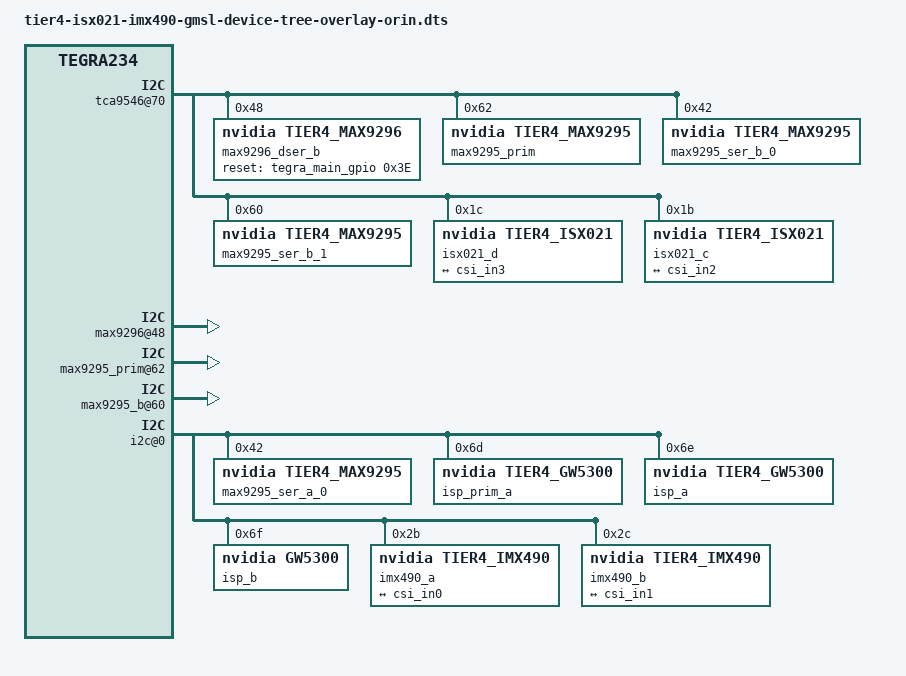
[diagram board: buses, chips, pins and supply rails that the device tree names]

/dts-v1/;
/plugin/;


//CAM0_RST_L 7 * 8 + 3, 0x3B
//CAM0_PWDN 7 * 8 + 6, 0x3E
//CAMERA_I2C_MUX_BUS 0x1E + x
//GPIO_ACTIVE_HIGH 0
//CAM1_RST_L 20 * 8 + 1, 0xA1

/ {
  overlay-name = "TIERIV ISX021 IMX490 GMSL2 Camera Device Tree Overlay";
  jetson-header-name = "Jetson AGX CSI Connector";
  compatible = "nvidia,p3737-0000+p3701-0000", "nvidia,tegra234", "nvidia,tegra23x";

fragment@0{
    target-path = "/tegra-capture-vi";
    __overlay__ {
      num-channels = <0x04>;
    };
  };
  //diff view    
fragment@1{
    target-path = "/tegra-capture-vi/ports/port@0";
    __overlay__ {
      status = "okay";
    };
  };

fragment@2{
    target-path = "/tegra-capture-vi/ports/port@0/endpoint";
    __overlay__ {
      status = "okay";
      port-index = <0>;
      vc-id = <0>;
      bus-width = <2>;
    };
  };

fragment@3{
    target-path = "/tegra-capture-vi/ports/port@1";
    __overlay__ {
      status = "okay";
    };
  };

fragment@4{
    target-path = "/tegra-capture-vi/ports/port@1/endpoint";
    __overlay__ {
      status = "okay";
      port-index = <0>;
      vc-id = <1>;
      bus-width = <2>;
    };
  };
  
fragment@5{
    target-path = "/tegra-capture-vi/ports/port@2";
    __overlay__ {
      status = "okay";
    
  };
  };
  
fragment@6{
    target-path = "/tegra-capture-vi/ports/port@2/endpoint";
    __overlay__ {
      status = "okay";
      vc-id = <0>;
      port-index = <2>;
      bus-width = <2>;
    };
  };
  
fragment@7{
    target-path = "/tegra-capture-vi/ports/port@3";
    __overlay__ {
      status = "okay";
    };
  };
  
fragment@8{
    target-path = "/tegra-capture-vi/ports/port@3/endpoint";
    __overlay__ {
      status = "okay";
      vc-id = <1>;
      port-index = <2>;
      bus-width = <2>;
    };
  };


/**********************/


fragment@9{
    target-path = "/host1x@13e00000/nvcsi@15a00000/channel@0";
    __overlay__ {
      status = "okay";
    };
  };
fragment@10{
    target-path = "/host1x@13e00000/nvcsi@15a00000/channel@0/ports/port@0";
    __overlay__ {
      status = "okay";
    };
  };
fragment@11{
    // target = csi_in0
    target-path = "/host1x@13e00000/nvcsi@15a00000/channel@0/ports/port@0/endpoint@0";
    __overlay__ {
      status = "okay";
      bus-width = <0x02>;
      remote-endpoint = <&imx490_out0>;
    };
  };

fragment@12{
    target-path = "/host1x@13e00000/nvcsi@15a00000/channel@0/ports/port@1";
    __overlay__ {
      status = "okay";
    };
  };

fragment@13{
    // target = csi_out0
    target-path = "/host1x@13e00000/nvcsi@15a00000/channel@0/ports/port@1/endpoint@1";
    __overlay__ {
      status = "okay";
      remote-endpoint = <&vi_in0>;
    };
  };

  // channel@1
fragment@14{
    target-path = "/host1x@13e00000/nvcsi@15a00000/channel@1";
    __overlay__ {
      status = "okay";
    };
  };
fragment@15{
    target-path = "/host1x@13e00000/nvcsi@15a00000/channel@1/ports/port@0";
    __overlay__ {
      status = "okay";
    };
  };
fragment@16{
    // target = csi_in1
    target-path = "/host1x@13e00000/nvcsi@15a00000/channel@1/ports/port@0/endpoint@2";
    __overlay__ {
      status = "okay";
      port-index = <0x00>;
      bus-width = <0x02>;
      remote-endpoint = <&imx490_out1>;
    };
  };

fragment@17{
    // target = csi_out1
    target-path = "/host1x@13e00000/nvcsi@15a00000/channel@1/ports/port@1/endpoint@3";
    __overlay__ {
      status = "okay";
      remote-endpoint = <&vi_in1>;
    };
  };

  // channel@2
fragment@18{
    target-path = "/host1x@13e00000/nvcsi@15a00000/channel@2";
    __overlay__ {
      status = "okay";
    };
  };
fragment@19{
    target-path = "/host1x@13e00000/nvcsi@15a00000/channel@2/ports/port@0";
    __overlay__ {
      status = "okay";
    };
  };
fragment@20{
    // target = csi_in0
    target-path = "/host1x@13e00000/nvcsi@15a00000/channel@2/ports/port@0/endpoint@4";
    __overlay__ {
      status = "okay";
      port-index = <2>;
      bus-width = <2>;
      remote-endpoint = <&isx021_out2>;
    };
  };

fragment@21{
    target-path = "/host1x@13e00000/nvcsi@15a00000/channel@2/ports/port@1";
    __overlay__ {
      status = "okay";
    };
  };

fragment@22{
    // target = csi_out0
    target-path = "/host1x@13e00000/nvcsi@15a00000/channel@2/ports/port@1/endpoint@5";
    __overlay__ {
      status = "okay";
      remote-endpoint = <&vi_in2>;
    };
  };

  // channel@3
fragment@23{
    target-path = "/host1x@13e00000/nvcsi@15a00000/channel@3";
    __overlay__ {
      status = "okay";
    };
  };
fragment@24{
    target-path = "/host1x@13e00000/nvcsi@15a00000/channel@3/ports/port@0";
    __overlay__ {
      status = "okay";
    };
  };
fragment@25{
    // target = csi_in0
    target-path = "/host1x@13e00000/nvcsi@15a00000/channel@3/ports/port@0/endpoint@6";
    __overlay__ {
      status = "okay";
      port-index = <2>;
      bus-width = <2>;
      remote-endpoint = <&isx021_out3>;
    };
  };

fragment@26{
    target-path = "/host1x@13e00000/nvcsi@15a00000/channel@3/ports/port@1";
    __overlay__ {
      status = "okay";
    };
  };

fragment@27{
    // target = csi_out0
    target-path = "/host1x@13e00000/nvcsi@15a00000/channel@3/ports/port@1/endpoint@7";
    __overlay__ {
      status = "okay";
      remote-endpoint = <&vi_in3>;
    };
  };

  // channel@6-7
fragment@28{
    target-path = "/host1x@13e00000/nvcsi@15a00000";
    __overlay__ {
      num-channels = <4>;
    };
  };

fragment@29{
    //tcp
    target-path = "/tegra-camera-platform";
    __overlay__ {
      num_csi_lanes = <0x04>;
      max_lane_speed = <4000000>;
    };
  };

fragment@30{
    target-path = "/tegra-camera-platform/modules/module0";
    __overlay__ {
      badge = "isx021_rear";
      position = "rear";
      orientation = "1";
      status = "okay";
    };
  };

fragment@31{
    target-path = "/tegra-camera-platform/modules/module0/drivernode0";
    __overlay__ {
      status = "okay";
      pcl_id = "v4l2_sensor";
      devname = "imx490 30-002b";
      proc-device-tree = "/proc/device-tree/i2c@3180000/tca9546@70/i2c@0/imx490_a@2b";
    };
  };

fragment@32{
    target-path = "/tegra-camera-platform/modules/module1";
    __overlay__ {
      badge = "isx021_front";
      position = "front";
      orientation = "1";
      status = "okay";
    };
  };

fragment@33{
    target-path = "/tegra-camera-platform/modules/module1/drivernode0";
    __overlay__ {
      status = "okay";
      pcl_id = "v4l2_sensor";
      devname = "imx490 30-002c";
      proc-device-tree = "/proc/device-tree/i2c@3180000/tca9546@70/i2c@0/imx490_b@2c";
    };
  };

fragment@34{
    target-path = "/tegra-camera-platform/modules/module2";
    __overlay__ {
      badge = "isx021_topright";
      position = "topright";
      orientation = "1";
      status = "okay";
    };
  };

fragment@35{
    target-path = "/tegra-camera-platform/modules/module2/drivernode0";
    __overlay__ {
      status = "okay";
      pcl_id = "v4l2_sensor";
      devname = "isx021 31-001b";
      proc-device-tree = "/proc/device-tree/i2c@3180000/tca9546@70/i2c@1/isx021_c@1b";
    };
  };

fragment@36{
    target-path = "/tegra-camera-platform/modules/module3";
    __overlay__ {
      badge = "isx021_bottomright";
      position = "bottomright";
      orientation = "1";
      status = "okay";
    };
  };

fragment@37{
    target-path = "/tegra-camera-platform/modules/module3/drivernode0";
    __overlay__ {
      status = "okay";
      pcl_id = "v4l2_sensor";
      devname = "isx021 31-002c";
      proc-device-tree = "/proc/device-tree/i2c@3180000/tca9546@70/i2c@1/isx021_d@2c";
    };
  };

fragment@38{
    target-path = "/tegra-camera-platform/modules/module4";
    __overlay__ {
      badge = "isx021_topleft";
      position = "topleft";
      orientation = "1";
      status = "okay";
    };
  };

fragment@39{
    target-path = "/tegra-camera-platform/modules/module4/drivernode0";
    __overlay__ {
      status = "okay";
      pcl_id = "v4l2_sensor";
      devname = "isx021 32-001b";
      proc-device-tree = "/proc/device-tree/i2c@3180000/tca9546@70/i2c@2/isx021_e@1b";
    };
  };

fragment@40{
    target-path = "/tegra-camera-platform/modules/module5";
    __overlay__ {
      badge = "isx021_centerright";
      position = "centerright";
      orientation = "1";
      status = "okay";
    };
  };

fragment@41{
    target-path = "/tegra-camera-platform/modules/module5/drivernode0";
    __overlay__ {
      status = "okay";
      pcl_id = "v4l2_sensor";
      devname = "isx021 32-001c";
      proc-device-tree = "/proc/device-tree/i2c@3180000/tca9546@70/i2c@2/isx021_f@1c";
    };
  };

  // cam
fragment@42{
    //cami2c/i2c@0
    target-path = "/i2c@3180000/tca9546@70";
    __overlay__ {
      status = "okay";
    };
  };

fragment@43{
    //cami2c/i2c@0
    target-path = "/i2c@3180000/tca9546@70/i2c@0/max9296@48";
    __overlay__ {
      status = "okay";
      compatible = "nvidia,tier4_max9296";
    };
  };

fragment@44{
    //cami2c/i2c@0
    target-path = "/i2c@3180000/tca9546@70/i2c@0/max9295_prim@62";
    __overlay__ {
      status = "okay";
      compatible = "nvidia,tier4_max9295";
    };
  };

fragment@45{
    //cami2c/i2c@0
    target-path = "/i2c@3180000/tca9546@70/i2c@0/max9295_b@60";
    __overlay__ {
      status = "okay";
      compatible = "nvidia,tier4_max9295";
      nvidia,gmsl-dser-device = <&dser>;
    };
  };

fragment@46{
    //cami2c/i2c@0
    target-path = "/i2c@3180000/tca9546@70/i2c@0";
    __overlay__ {
      max9295_ser_a_0: max9295_a@42 {
        compatible = "nvidia,tier4_max9295";
        reg = <0x42>;
        nvidia,gmsl-dser-device = <&max9296_dser>;
      };
   
      isp_prim_a: gw5300_prim@6d {
        compatible = "nvidia,tier4_gw5300";
        reg = <0x6d>;
        is-prim-isp;
      };
      isp_a: gw5300_a@6e {
        compatible = "nvidia,tier4_gw5300";
        reg = <0x6e>;
      };
      isp_b: gw5300_b@6f {
        compatible = "nvidia,gw5300";
        reg = <0x6f>;
      };

      imx490_a@2b {
        //cvb
        status = "okay";
        def-addr = <0x1a>;
        mclk = "extperiph1";
        clocks = <&bpmp 36U>, <&bpmp 36U>;
        clock-names = "extperiph1", "pllp_grtba";
        nvidia,isp-device = <&isp_a>;           // for C2 camera
        nvidia,gmsl-ser-device = <&max9295_ser_a_0>;
        nvidia,gmsl-dser-device = <&max9296_dser>;

        // common modul;e
        compatible = "nvidia,tier4_imx490";
        reg = <0x2b>;

        /* Physical dimensions of sensor */
        physical_w = "15.0";
        physical_h = "12.5";
        reg_mux = <0>;
        sensor_model ="imx490";

        fsync-mode = "false";

        distortion-correction = "false";

        auto-exposure = "true";

        /* Defines number of frames to be dropped by driver internally after applying */
        /* sensor crop settings. Some sensors send corrupt frames after applying */
        /* crop co-ordinates */
        post_crop_frame_drop = "0";

        /* Convert Gain to unit of dB (decibel) befor passing to kernel driver */
        use_decibel_gain = "true";

        /* enable CID_SENSOR_MODE_ID for sensor modes selection */
        use_sensor_mode_id = "true";

        mode0 {
          /*mode ISX021_MODE_1920X1280_CROP_30FPS*/
          mclk_khz = "24000";
          num_lanes = "4";
          tegra_sinterface = "serial_a";
          vc_id = "0";
          discontinuous_clk = "no";
          dpcm_enable = "false";
          cil_settletime = "0";
          dynamic_pixel_bit_depth = "16";
          csi_pixel_bit_depth = "16";
          mode_type = "yuv";
          pixel_phase = "uyvy";

          active_w = "2880";
          active_h = "1860";
          readout_orientation = "0";
          line_length = "2250";
          inherent_gain = "1";

          pix_clk_hz = "757"; //not use
          serdes_pix_clk_hz =  "237500000";

          gain_factor = "10";
          min_gain_val = "0"; 						/* dB */
          max_gain_val = "300"; 						/* dB */
          step_gain_val = "3"; 						/* 0.3 */
          default_gain = "0";
          min_hdr_ratio = "1";
          max_hdr_ratio = "1";
          framerate_factor = "1000000";
          min_framerate = "30000000";
          max_framerate = "30000000";
          step_framerate = "1";
          default_framerate = "30000000";
          exposure_factor = "1000000";
          min_exp_time = "24"; 						/* us 1 line */
          max_exp_time = "33333";
          step_exp_time = "1";
          default_exp_time = "33333";					/* us */
          embedded_metadata_height = "0";
        };
        ports {
          #address-cells = <1>;
          #size-cells = <0>;
          port@0 {
            reg = <0>;
            imx490_out0: endpoint {
              vc-id = <0>;
              port-index = <0>;
              bus-width = <2>;
              remote-endpoint = <&csi_in0>;
            };
          };
        };

        gmsl-link {
          src-csi-port = "b";		/* Port at which sensor is connected to its serializer device. */
          dst-csi-port = "a";		/* Destination CSI port on the Jetson side, connected at deserializer. */
          serdes-csi-link = "a";	/* GMSL link sensor/serializer connected */
          csi-mode = "1x4";		/*  to sensor CSI mode. */
          st-vc = <0>;			/* Sensor source default VC ID: 0 unless overridden by sensor. */
          vc-id = <0>;			/* Destination VC ID, assigned to sensor stream by deserializer. */
          num-lanes = <4>;		/* Number of CSI lanes used. */
          streams = "ued-u1", "yuv8"; /* Types of streams sensor is streaming. */
        };
      };

      imx490_b@2c {
        status = "okay";
        def-addr = <0x1a>;
        /* Define any required hw resources needed by driver */
        /* ie. clocks, io pins, power sources */
        clocks = <&bpmp 36U>, <&bpmp 36U>;
        clock-names = "extperiph1", "pllp_grtba";
        mclk = "extperiph1";
        nvidia,isp-device = <&isp_b>;           // for C2 camera
        nvidia,gmsl-ser-device = <&max9295_ser1>;
        nvidia,gmsl-dser-device = <&max9296_dser>;

        compatible = "nvidia,tier4_imx490";
        reg = <0x2c>;

        /* Physical dimensions of sensor */
        physical_w = "15.0";
        physical_h = "12.5";
        reg_mux = <0>;
        sensor_model ="imx490";

        fsync-mode = "false";

        distortion-correction = "false";

        auto-exposure = "true";

        /* Defines number of frames to be dropped by driver internally after applying */
        /* sensor crop settings. Some sensors send corrupt frames after applying */
        /* crop co-ordinates */
        post_crop_frame_drop = "0";

        /* Convert Gain to unit of dB (decibel) befor passing to kernel driver */
        use_decibel_gain = "true";

        /* enable CID_SENSOR_MODE_ID for sensor modes selection */
        use_sensor_mode_id = "true";

        mode0 {
          /*mode ISX021_MODE_1920X1280_CROP_30FPS*/
          mclk_khz = "24000";
          num_lanes = "4";
          tegra_sinterface = "serial_a";
          vc_id = "1";
          discontinuous_clk = "no";
          dpcm_enable = "false";
          cil_settletime = "0";
          dynamic_pixel_bit_depth = "16";
          csi_pixel_bit_depth = "16";
          mode_type = "yuv";
          pixel_phase = "uyvy";

          active_w = "1920";
          active_h = "1280";
          readout_orientation = "0";
          line_length = "2250";
          inherent_gain = "1";

          pix_clk_hz = "757"; //not use
          serdes_pix_clk_hz =  "237500000";

          gain_factor = "10";
          min_gain_val = "0"; 							/* dB */
          max_gain_val = "300"; 							/* dB */
          step_gain_val = "3"; 							/* 0.3 */
          default_gain = "0";
          min_hdr_ratio = "1";
          max_hdr_ratio = "1";
          framerate_factor = "1000000";
          min_framerate = "30000000";
          max_framerate = "30000000";
          step_framerate = "1";
          default_framerate = "30000000";
          exposure_factor = "1000000";
          min_exp_time = "24"; 							/* us 1 line */
          max_exp_time = "33333";
          step_exp_time = "1";
          default_exp_time = "33333";						/* us */
          embedded_metadata_height = "0";
        };
        ports {
          #address-cells = <1>;
          #size-cells = <0>;
          port@0 {
            reg = <0>;
            imx490_out1: endpoint {
              vc-id = <1>;
              port-index = <0>;
              bus-width = <2>;
              remote-endpoint = <&csi_in1>;
            };
          };
        };
        gmsl-link {
          src-csi-port = "b";
          dst-csi-port = "a";
          serdes-csi-link = "b";
          csi-mode = "1x4";
          st-vc = <0>;
          vc-id = <1>;
          num-lanes = <4>;
          streams = "ued-u1","yuv8";
        };
      };
    };
  };

fragment@47{
    target-path = "/i2c@3180000/tca9546@70";
    __overlay__ {
      i2c@1 {
        max9296_dser_b: max9296@48 {
          compatible = "nvidia,tier4_max9296";
          reg = <0x48>;
          csi-mode = "2x4";
          max-src = <2>;
          //reset-gpios = <&tegra_main_gpio CAM0_PWDN GPIO_ACTIVE_HIGH>;
          reset-gpios = <&tegra_main_gpio 0x3E 0x0>;
        };
        max9295_prim@62 {
          compatible = "nvidia,tier4_max9295";
          reg = <0x62>;
          is-prim-ser;
        };
        max9295_ser_b_0: max9295_a@42 {
          compatible = "nvidia,tier4_max9295";
          reg = <0x42>;
          nvidia,gmsl-dser-device = <&max9296_dser_b>;
        };
        max9295_ser_b_1: max9295_b@60 {
          compatible = "nvidia,tier4_max9295";
          reg = <0x60>;
          nvidia,gmsl-dser-device = <&max9296_dser_b>;
        };

        isx021_d@1c {
          compatible = "nvidia,tier4_isx021";
          reg = <0x1c>;
          status = "okay";

          def-addr = <0x1a>;
          /* Define any required hw resources needed by driver */
          /* ie. clocks, io pins, power sources */
          clocks = <&bpmp 36U>,
          <&bpmp 36U>;
          clock-names = "extperiph1", "pllp_grtba";
          mclk = "extperiph1";
          nvidia,gmsl-ser-device = <&max9295_ser_b_1>;
          nvidia,gmsl-dser-device = <&max9296_dser_b>;

          /* Physical dimensions of sensor */
          physical_w = "15.0";
          physical_h = "12.5";
          reg_mux = <1>;
          sensor_model ="isx021";

          fsync-mode = "false";

          distortion-correction = "false";

          auto-exposure = "true";

          /* Defines number of frames to be dropped by driver internally after applying */
          /* sensor crop settings. Some sensors send corrupt frames after applying */
          /* crop co-ordinates */
          post_crop_frame_drop = "0";

          /* Convert Gain to unit of dB (decibel) befor passing to kernel driver */
          use_decibel_gain = "true";

          /* enable CID_SENSOR_MODE_ID for sensor modes selection */
          use_sensor_mode_id = "true";

          mode0 {
            /*mode ISX021_MODE_1920X1280_CROP_30FPS*/
            mclk_khz = "24000";
            num_lanes = "2";
            tegra_sinterface = "serial_d";
            vc_id = "1";
            discontinuous_clk = "no";
            dpcm_enable = "false";
            cil_settletime = "0";
            dynamic_pixel_bit_depth = "16";
            csi_pixel_bit_depth = "16";
            mode_type = "yuv";
            pixel_phase = "uyvy";

            active_w = "1920";
            active_h = "1280";
            readout_orientation = "0";
            line_length = "2250";
            inherent_gain = "1";
            pix_clk_hz = "74250000";
            serdes_pix_clk_hz =   "180000000";

            gain_factor = "10";
            min_gain_val = "0"; /* dB */
            max_gain_val = "300"; /* dB */
            step_gain_val = "3"; /* 0.3 */
            default_gain = "0";
            min_hdr_ratio = "1";
            max_hdr_ratio = "1";
            framerate_factor = "1000000";
            min_framerate = "30000000";
            max_framerate = "30000000";
            step_framerate = "1";
            default_framerate = "30000000";
            exposure_factor = "1000000";
            min_exp_time = "24"; /* us 1 line */
            max_exp_time = "33333";
            step_exp_time = "1";
            default_exp_time = "33333";/* us */
            embedded_metadata_height = "0";
          };

          ports {
            #address-cells = <1>;
            #size-cells = <0>;
            port@0 {
              reg = <0>;
              isx021_out3: endpoint {
                vc-id = <1>;
                port-index = <2>;
                bus-width = <2>;
                remote-endpoint = <&csi_in3>;
              };
            };
          };
          gmsl-link {
            src-csi-port = "b";
            dst-csi-port = "a";
            serdes-csi-link = "b";
            csi-mode = "1x4";
            st-vc = <0>;
            vc-id = <1>;
            num-lanes = <2>;
            streams = "ued-u1","yuv8";
          };
        };
        isx021_c@1b {
          compatible = "nvidia,tier4_isx021";

          def-addr = <0x1a>;
          /* Define any required hw resources needed by driver */
          /* ie. clocks, io pins, power sources */
          clocks = <&bpmp 36U>,
          <&bpmp 36U>;
          clock-names = "extperiph1", "pllp_grtba";
          mclk = "extperiph1";
          nvidia,gmsl-ser-device = <&max9295_ser_b_0>;
          nvidia,gmsl-dser-device = <&max9296_dser_b>;

          reg = <0x1b>;
          status = "okay";

          /* Physical dimensions of sensor */
          physical_w = "15.0";
          physical_h = "12.5";
          reg_mux = <1>;
          sensor_model ="isx021";

          fsync-mode = "false";

          distortion-correction = "false";

          auto-exposure = "true";

          /* Defines number of frames to be dropped by driver internally after applying */
          /* sensor crop settings. Some sensors send corrupt frames after applying */
          /* crop co-ordinates */
          post_crop_frame_drop = "0";

          /* Convert Gain to unit of dB (decibel) befor passing to kernel driver */
          use_decibel_gain = "true";

          /* enable CID_SENSOR_MODE_ID for sensor modes selection */
          use_sensor_mode_id = "true";

          mode0 {
            /*mode ISX021_MODE_1920X1280_CROP_30FPS*/
            mclk_khz = "24000";
            num_lanes = "2";
            tegra_sinterface = "serial_c";
            vc_id = "0";
            discontinuous_clk = "no";
            dpcm_enable = "false";
            cil_settletime = "0";
            dynamic_pixel_bit_depth = "16";
            csi_pixel_bit_depth = "16";
            mode_type = "yuv";
            pixel_phase = "uyvy";

            active_w = "1920";
            active_h = "1280";
            readout_orientation = "0";
            line_length = "2250";
            inherent_gain = "1";
            pix_clk_hz = "74250000";
            serdes_pix_clk_hz =   "180000000";

            gain_factor = "10";
            min_gain_val = "0"; /* dB */
            max_gain_val = "300"; /* dB */
            step_gain_val = "3"; /* 0.3 */
            default_gain = "0";
            min_hdr_ratio = "1";
            max_hdr_ratio = "1";
            framerate_factor = "1000000";
            min_framerate = "30000000";
            max_framerate = "30000000";
            step_framerate = "1";
            default_framerate = "30000000";
            exposure_factor = "1000000";
            min_exp_time = "24"; /* us 1 line */
            max_exp_time = "33333";
            step_exp_time = "1";
            default_exp_time = "33333";/* us */
            embedded_metadata_height = "0";
          };

          ports {
            #address-cells = <1>;
            #size-cells = <0>;
            port@0 {
              reg = <0>;
              isx021_out2: endpoint {
                vc-id = <0>;
                port-index = <2>;
                bus-width = <2>;
                remote-endpoint = <&csi_in2>;
              };
            };
          };

          gmsl-link {
            src-csi-port = "b";				/* Port at which sensor  is connected to its serializer device. */
            dst-csi-port = "a";				/* Destination CSI port on the Jetson side, connected at deserializer. */
            serdes-csi-link = "a";			/* GMSL link sensor/serializer connected */
            csi-mode = "1x4";				/*  to sensor CSI mode. */
            st-vc = <0>;					/* Sensor source default VC ID: 0 unless overridden by sensor. */
            vc-id = <0>;					/* Destination VC ID, assigned to sensor stream by deserializer. */
            num-lanes = <2>;				/* Number of CSI lanes used. */
            streams = "ued-u1","yuv8"; 				/* Types of streams sensor is streaming. */
          };
        };
      };
    };
  };
};
